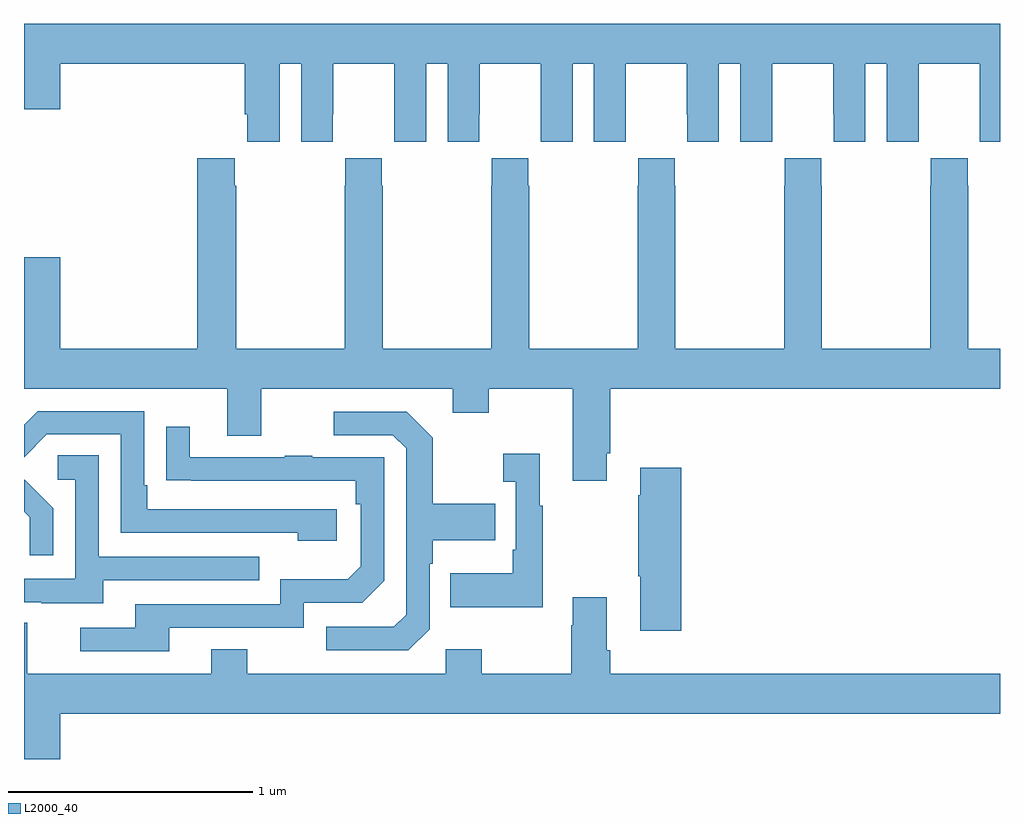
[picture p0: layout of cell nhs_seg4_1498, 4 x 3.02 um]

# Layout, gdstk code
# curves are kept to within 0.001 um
import gdstk
lib = gdstk.Library(unit=1e-6, precision=1e-09)
def P(c, l, *ps):  # polygons
    for p in ps: c.add(gdstk.Polygon(p, *l))
L2000_40 = (2000, 40)

nhs_seg4_1498 = lib.new_cell('nhs_seg4_1498')
P(nhs_seg4_1498, L2000_40, [(189,758.004),(189.148,758.004),(189.148,758.192),(189.905,758.192),(189.905,757.984),(189.914,757.984),(189.914,757.872),(190.048,757.872),(190.048,758.192),(190.136,758.192),(190.136,757.872),(190.266,757.872),(190.266,757.984),(190.267,757.984),(190.267,758.192),(190.517,758.192),(190.517,757.984),(190.518,757.984),(190.518,757.872),(190.648,757.872),(190.648,758.192),(190.736,758.192),(190.736,757.872),(190.866,757.872),(190.866,757.984),(190.867,757.984),(190.867,758.192),(191.117,758.192),(191.117,757.984),(191.118,757.984),(191.118,757.872),(191.248,757.872),(191.248,758.192),(191.336,758.192),(191.336,757.872),(191.466,757.872),(191.466,757.984),(191.467,757.984),(191.467,758.192),(191.717,758.192),(191.717,757.984),(191.718,757.984),(191.718,757.872),(191.848,757.872),(191.848,758.192),(191.936,758.192),(191.936,757.872),(192.066,757.872),(192.066,757.984),(192.067,757.984),(192.067,758.192),(192.317,758.192),(192.317,757.984),(192.318,757.984),(192.318,757.872),(192.448,757.872),(192.448,758.192),(192.536,758.192),(192.536,757.872),(192.666,757.872),(192.666,757.984),(192.667,757.984),(192.667,758.192),(192.917,758.192),(192.917,757.984),(192.918,757.984),(192.918,757.872),(193,757.872),(193,758.356),(189,758.356)],
  [(191.389,756.595),(191.402,756.595),(191.402,756.86),(193,756.86),(193,757.024),(192.87,757.024),(192.87,757.691),(192.867,757.691),(192.867,757.804),(192.717,757.804),(192.717,757.691),(192.715,757.691),(192.715,757.024),(192.27,757.024),(192.27,757.691),(192.267,757.691),(192.267,757.804),(192.117,757.804),(192.117,757.691),(192.115,757.691),(192.115,757.024),(191.67,757.024),(191.67,757.691),(191.667,757.691),(191.667,757.804),(191.517,757.804),(191.517,757.691),(191.515,757.691),(191.515,757.024),(191.07,757.024),(191.07,757.691),(191.067,757.691),(191.067,757.804),(190.917,757.804),(190.917,757.691),(190.915,757.691),(190.915,757.024),(190.47,757.024),(190.47,757.691),(190.467,757.691),(190.467,757.804),(190.317,757.804),(190.317,757.691),(190.315,757.691),(190.315,757.024),(189.87,757.024),(189.87,757.691),(189.863,757.691),(189.863,757.804),(189.71,757.804),(189.71,757.024),(189.148,757.024),(189.148,757.399),(189,757.399),(189,756.86),(189.833,756.86),(189.833,756.666),(189.973,756.666),(189.973,756.86),(190.757,756.86),(190.757,756.761),(190.905,756.761),(190.905,756.86),(191.249,756.86),(191.249,756.483),(191.389,756.483)],
  [(190.282,756.366),(189.505,756.366),(189.505,756.463),(189.492,756.463),(189.492,756.768),(189.057,756.768),(189,756.711),(189,756.579),(189.093,756.672),(189.396,756.672),(189.396,756.27),(190.121,756.27),(190.121,756.236),(190.282,756.236)],
  [(190.662,755.874),(190.662,756.143),(190.675,756.143),(190.675,756.239),(190.931,756.239),(190.931,756.387),(190.675,756.387),(190.675,756.659),(190.569,756.765),(190.269,756.765),(190.269,756.669),(190.512,756.669),(190.566,756.615),(190.566,755.934),(190.515,755.883),(190.239,755.883),(190.239,755.787),(190.575,755.787)],
  [(189.595,755.88),(190.146,755.88),(190.146,755.982),(190.386,755.982),(190.476,756.072),(190.476,756.579),(190.181,756.579),(190.181,756.584),(190.069,756.584),(190.069,756.579),(189.679,756.579),(189.679,756.703),(189.583,756.703),(189.583,756.484),(190.36,756.483),(190.36,756.386),(190.38,756.386),(190.38,756.132),(190.327,756.079),(190.05,756.079),(190.05,755.976),(189.455,755.976),(189.455,755.88),(189.231,755.88),(189.231,755.784),(189.595,755.784)],
  [(191.125,756.379),(191.113,756.379),(191.113,756.592),(190.965,756.592),(190.965,756.479),(191.016,756.479),(191.016,756.199),(191.004,756.199),(191.004,756.103),(190.747,756.103),(190.747,755.963),(191.125,755.963)],
  [(189.325,756.075),(189.965,756.075),(189.965,756.171),(189.306,756.171),(189.306,756.587),(189.138,756.587),(189.138,756.486),(189.21,756.486),(189.21,756.081),(189,756.081),(189,755.985),(189.071,755.985),(189.071,755.981),(189.325,755.981)],
  [(191.693,756.535),(191.525,756.535),(191.525,756.422),(191.518,756.422),(191.518,756.091),(191.525,756.091),(191.525,755.868),(191.693,755.868)],
  [(189.12,756.37),(189.004,756.486),(189,756.486),(189,756.356),(189.023,756.333),(189.023,756.177),(189.12,756.177)],
  [(189.148,755.528),(193,755.528),(193,755.692),(191.402,755.692),(191.402,755.788),(191.389,755.788),(191.389,756.004),(191.249,756.004),(191.249,755.891),(191.242,755.891),(191.242,755.692),(190.875,755.692),(190.875,755.791),(190.728,755.791),(190.728,755.692),(189.915,755.692),(189.915,755.791),(189.767,755.791),(189.767,755.692),(189.013,755.692),(189.013,755.9),(189,755.9),(189,755.34),(189.148,755.34)])

lib.write_gds('nhs_seg4_1498.gds')
